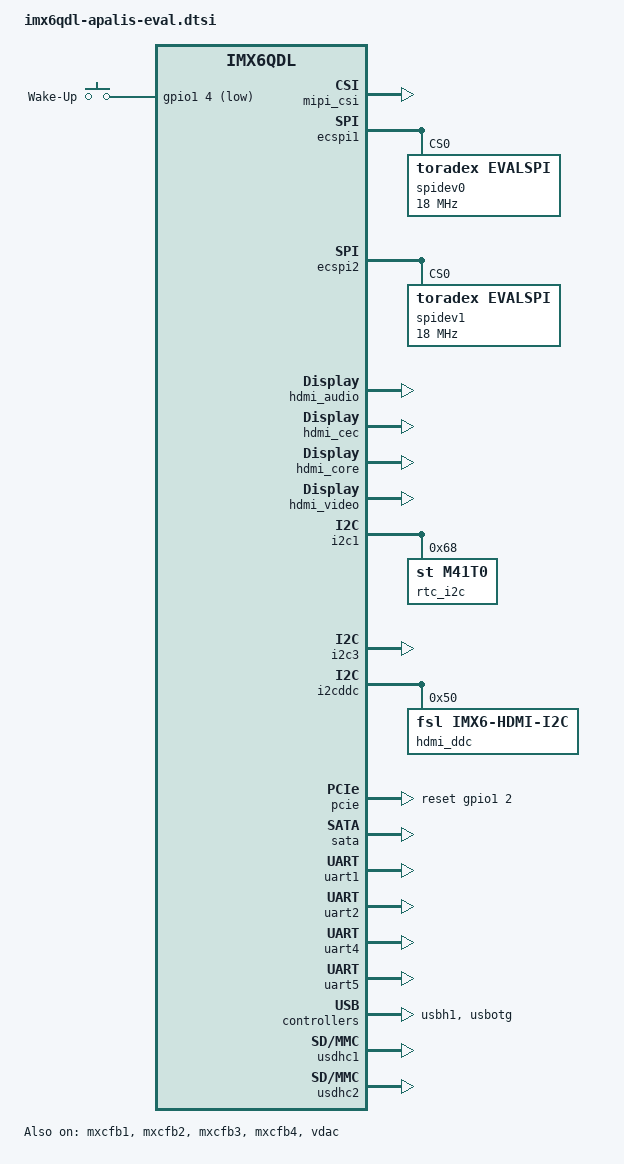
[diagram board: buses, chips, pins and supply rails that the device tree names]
/*
 * Copyright 2014-2017 Toradex AG
 * Copyright 2012 Freescale Semiconductor, Inc.
 * Copyright 2011 Linaro Ltd.
 *
 * The code contained herein is licensed under the GNU General Public
 * License. You may obtain a copy of the GNU General Public License
 * Version 2 or later at the following locations:
 *
 * http://www.opensource.org/licenses/gpl-license.html
 * http://www.gnu.org/copyleft/gpl.html
 */

/ {
	aliases {
		i2c0 = &i2cddc;
		i2c1 = &i2c1;
		i2c2 = &i2c2;
		i2c3 = &i2c3;
	};

	aliases {
		/* the following, together with kernel patches, forces a fixed assignment
		   between device id and usdhc controller */
		/* i.e. the eMMC on usdhc3 will be /dev/mmcblk0 */
		mmc0 = &usdhc3; /* eMMC */
		mmc1 = &usdhc1; /* MMC1 8bit slot */
		mmc2 = &usdhc2; /* SD1  4bit slot */
	};

	aliases {
		rtc0 = &rtc_i2c;
		rtc1 = &snvs_rtc;
	};

	gpio-keys {
		compatible = "gpio-keys";
		pinctrl-names = "default";
		pinctrl-0 = <&pinctrl_gpio_keys>;

		wakeup {
			label = "Wake-Up";
			gpios = <&gpio1 4 GPIO_ACTIVE_LOW>;
			linux,code = <KEY_WAKEUP>;
			debounce-interval = <10>;
			gpio-key,wakeup;
		};
	};

	v4l2_cap_0 {
		compatible = "fsl,imx6q-v4l2-capture";
		ipu_id = <0>;
		csi_id = <0>;
		mclk_source = <0>;
		status = "okay";
	};

	v4l2_cap_1 { // second parallel camera
		compatible = "fsl,imx6q-v4l2-capture";
		ipu_id = <1>;
		csi_id = <1>;
		mclk_source = <0>;
		status = "okay";
	};

	v4l2_cap_2 { // mipi-csi2 camera
		compatible = "fsl,imx6q-v4l2-capture";
		ipu_id = <0>;
		csi_id = <1>;
		mclk_source = <0>;
		status = "okay";
	};
#if 0
	v4l2_out {
		compatible = "fsl,mxc_v4l2_output";
		status = "okay";
	};
#endif
};

&mipi_csi {
	ipu_id = <0>;
	csi_id = <1>;
	v_channel = <0>;
	lanes = <2>;
	status = "okay";
};

/* Apalis SPI1 */
&ecspi1 {
	status = "okay";

	spidev0: spidev@1 {
		compatible = "toradex,evalspi";
		reg = <0>;
		spi-max-frequency = <18000000>;
	};
};

/* Apalis SPI2 */
&ecspi2 {
	status = "okay";

	spidev1: spidev@2 {
		compatible = "toradex,evalspi";
		reg = <0>;
		spi-max-frequency = <18000000>;
	};
};

&hdmi_audio {
	status = "okay";
};

&hdmi_cec {
	status = "okay";
};

&hdmi_core {
	status = "okay";
};

&hdmi_video {
	status = "okay";
};

/*
 * GEN1_I2C: I2C1_SDA/SCL on MXM3 209/211 (e.g. RTC on carrier
 * board)
 */
&i2c1 {
	status = "okay";

	/* M41T0M6 real time clock on carrier board */
	rtc_i2c: rtc@68 {
		compatible = "st,m41t0";
		reg = <0x68>;
	};
};

/*
 * GEN2_I2C, CAM: I2C3_SDA/SCL on MXM3 201/203 (unused)
 */
&i2c3 {
	status = "okay";
};

/*
 * DDC_I2C: I2C2_SDA/SCL on MXM3 205/207
 */
&i2cddc {
	status = "okay";

	hdmi_ddc: edid@50 {
		compatible = "fsl,imx6-hdmi-i2c";
		reg = <0x50>;
	};
};

&mxcfb1 {
	status = "okay";
};

&mxcfb2 {
	status = "okay";
};

&mxcfb3 {
	status = "okay";
};

&mxcfb4 {
	status = "okay";
};

&pcie {
	pinctrl-names = "default";
	pinctrl-0 = <&pinctrl_reset_moci>;
	reset-gpio = <&gpio1 2 0>;
	reset-ep-gpio = <&gpio1 28 0>;
	status = "okay";
};

&reg_usb_otg_vbus {
	status = "okay";
};

&reg_usb_host_vbus {
	status = "okay";
};

&sata {
	status = "okay";
};

&sound_hdmi {
	status = "okay";
};

&uart1 {
	status = "okay";
};

&uart2 {
	status = "okay";
#if 0
	linux,rs485-enabled-at-boot-time;
	rs485-rts-active-low;
	rs485-rx-during-tx;
#endif
};

&uart4 {
	status = "okay";
};

&uart5 {
	status = "okay";
};

&usbh1 {
	status = "okay";
};

&usbotg {
	status = "okay";
};

/* MMC1 */
&usdhc1 {
	status = "okay";
};

/* SD1 */
&usdhc2 {
	status = "okay";
};

&vdac {
	status = "okay";
};
